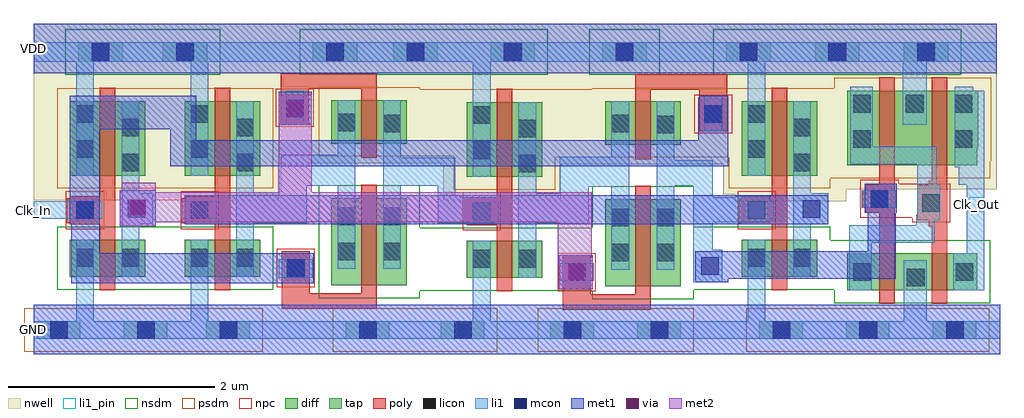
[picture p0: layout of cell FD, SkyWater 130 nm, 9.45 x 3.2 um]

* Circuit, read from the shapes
.subckt FD Clk_In Clk_Out GND VDD
XM1 n1 Clk_In GND GND sky130_fd_pr__nfet_01v8 w=0.36 l=0.15
XM2 n2 n3 GND GND sky130_fd_pr__nfet_01v8 w=0.36 l=0.15
XM3 n4 Clk_In n2 GND sky130_fd_pr__nfet_01v8 w=0.84 l=0.15
XM4 n5 n4 GND GND sky130_fd_pr__nfet_01v8 w=0.36 l=0.15
XM5 n6 n1 n5 GND sky130_fd_pr__nfet_01v8 w=0.84 l=0.15
XM6 n3 n6 GND GND sky130_fd_pr__nfet_01v8 w=0.36 l=0.15
XM7 GND n6 n7 GND sky130_fd_pr__nfet_01v8 w=0.36 l=0.15
XM8 Clk_Out n7 GND GND sky130_fd_pr__nfet_01v8 w=0.36 l=0.15
XM9 n1 Clk_In VDD VDD sky130_fd_pr__pfet_01v8 w=0.72 l=0.15
XM10 n2 n3 VDD VDD sky130_fd_pr__pfet_01v8 w=0.72 l=0.15
XM11 n4 n1 n2 VDD sky130_fd_pr__pfet_01v8 w=0.42 l=0.15
XM12 n5 n4 VDD VDD sky130_fd_pr__pfet_01v8 w=0.72 l=0.15
XM13 n6 Clk_In n5 VDD sky130_fd_pr__pfet_01v8 w=0.42 l=0.15
XM14 n3 n6 VDD VDD sky130_fd_pr__pfet_01v8 w=0.72 l=0.15
XM15 VDD n6 n7 VDD sky130_fd_pr__pfet_01v8 w=0.72 l=0.15
XM16 Clk_Out n7 VDD VDD sky130_fd_pr__pfet_01v8 w=0.72 l=0.15
.ends

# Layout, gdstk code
import gdstk
lib = gdstk.Library(unit=1e-6, precision=1e-09)
def R(c, l, rs):  # rectangles x0, y0, x1, y1
    for r in rs: c.add(gdstk.rectangle(r[:2], r[2:], *l))
def A(c, l, x, y, w, h, nx, ny, dx, dy):  # array of equal rectangles
    R(c, l, [(x+i*dx, y+j*dy, x+i*dx+w, y+j*dy+h) for i in range(nx) for j in range(ny)])
nwell = (64, 20)
diff = (65, 20)
tap = (65, 44)
poly = (66, 20)
licon = (66, 44)
li1_pin = (67, 16)
li1 = (67, 20)
mcon = (67, 44)
met1 = (68, 20)
via = (68, 44)
met2 = (69, 20)
nsdm = (93, 44)
psdm = (94, 20)
npc = (95, 20)

c_fd = lib.new_cell('FD')
R(c_fd, nwell, [(6.79,1.48,7.86,1.55), (0,1.49,2.37,1.85), (3.96,1.49,5.1,1.84), (6.67,1.55,7.86,1.6), (6.67,1.6,9.32,1.84), (3.96,1.84,9.32,1.85), (0,1.85,9.32,3.2)])
R(c_fd, diff, [(7.87,0.62,9.13,0.98), (5.53,0.66,6.26,1.5), (2.88,0.67,3.61,1.51), (4.19,0.74,4.92,1.1), (0.35,0.75,1.08,1.11), (1.46,0.75,2.19,1.11), (6.85,0.75,7.58,1.11), (4.19,1.72,4.92,2.44), (0.35,1.73,1.08,2.45), (1.46,1.73,2.19,2.45), (6.85,1.73,7.58,2.45), (7.87,1.83,9.13,2), (7.87,2,9.14,2.55), (5.53,2.03,6.26,2.45), (2.88,2.04,3.61,2.46)])
A(c_fd, tap, 7.02, 0.15, 0.42, 0.17, 3, 1, 0.84, 0)
A(c_fd, tap, 6.7, 2.83, 0.43, 0.19, 3, 1, 0.86, 0)
R(c_fd, tap, [(0.03,0.15,0.45,0.32), (0.87,0.15,1.29,0.32), (1.67,0.15,2.09,0.32), (3.02,0.15,3.44,0.32), (3.94,0.15,4.36,0.32), (5,0.15,5.42,0.32), (5.84,0.15,6.26,0.32), (0.43,2.83,0.86,3.02), (1.25,2.83,1.68,3.02), (2.7,2.83,3.13,3.02), (3.48,2.83,3.91,3.02), (4.42,2.83,4.85,3.02), (5.5,2.83,5.93,3.02)])
R(c_fd, poly, [(5.12,0.43,5.97,0.58), (2.4,0.44,3.32,0.59), (8.18,0.49,8.33,1.37), (8.69,0.49,8.84,1.24), (5.12,0.58,5.39,0.96), (5.82,0.58,5.97,1.63), (2.4,0.59,2.67,1), (3.17,0.59,3.32,1.64), (4.48,0.61,4.63,1.25), (0.64,0.62,0.79,1.26), (1.75,0.62,1.9,1.26), (7.14,0.62,7.29,1.26), (8.66,1.24,8.84,1.3), (4.19,1.25,4.63,1.26), (0.35,1.26,0.79,1.27), (1.46,1.26,1.9,1.27), (4.16,1.26,4.63,1.5), (6.85,1.26,7.29,1.27), (0.32,1.27,0.79,1.51), (1.43,1.27,1.9,1.51), (6.82,1.27,7.29,1.51), (8.55,1.3,8.84,1.64), (8.05,1.37,8.33,1.42), (8.02,1.42,8.34,1.59), (4.19,1.5,4.63,1.52), (0.35,1.51,0.79,1.53), (1.46,1.51,1.9,1.53), (6.85,1.51,7.29,1.53), (4.48,1.52,4.63,2.57), (0.64,1.53,0.79,2.58), (1.75,1.53,1.9,2.58), (7.14,1.53,7.29,2.58), (8.05,1.59,8.33,1.64), (8.18,1.64,8.33,2.68), (8.66,1.64,8.84,1.68), (8.69,1.68,8.84,2.68), (5.82,1.89,5.97,2.56), (3.17,1.9,3.32,2.57), (6.44,2.16,6.71,2.56), (2.39,2.22,2.66,2.57), (5.82,2.56,6.71,2.71), (2.39,2.57,3.32,2.72)])
A(c_fd, licon, 7.15, 0.15, 0.17, 0.17, 3, 1, 0.84, 0)
A(c_fd, licon, 6.83, 2.84, 0.17, 0.17, 3, 1, 0.86, 0)
R(c_fd, licon, [(0.16,0.15,0.33,0.32), (1,0.15,1.17,0.32), (1.8,0.15,1.97,0.32), (3.15,0.15,3.32,0.32), (4.07,0.15,4.24,0.32), (5.13,0.15,5.3,0.32), (5.97,0.15,6.14,0.32), (8.45,0.66,8.62,0.83), (5.17,0.71,5.34,0.88), (7.93,0.71,8.1,0.88), (8.92,0.71,9.09,0.88), (2.45,0.75,2.62,0.92), (4.25,0.84,4.42,1.01), (4.69,0.84,4.86,1.01), (0.41,0.85,0.58,1.02), (0.85,0.85,1.02,1.02), (1.52,0.85,1.69,1.02), (1.96,0.85,2.13,1.02), (6.91,0.85,7.08,1.02), (7.35,0.85,7.52,1.02), (5.59,0.9,5.76,1.07), (6.03,0.9,6.2,1.07), (2.94,0.91,3.11,1.08), (3.38,0.91,3.55,1.08), (5.59,1.24,5.76,1.41), (6.03,1.24,6.2,1.41), (2.94,1.25,3.11,1.42), (3.38,1.25,3.55,1.42), (4.25,1.3,4.42,1.47), (0.41,1.31,0.58,1.48), (1.52,1.31,1.69,1.48), (6.91,1.31,7.08,1.48), (8.6,1.38,8.77,1.55), (8.1,1.42,8.27,1.59), (4.69,1.76,4.86,1.93), (0.85,1.77,1.02,1.94), (1.96,1.77,2.13,1.94), (7.35,1.77,7.52,1.94), (4.25,1.89,4.42,2.06), (0.41,1.9,0.58,2.07), (1.52,1.9,1.69,2.07), (6.91,1.9,7.08,2.07), (7.93,2,8.1,2.17), (8.91,2,9.08,2.17), (4.69,2.1,4.86,2.27), (0.85,2.11,1.02,2.28), (1.96,2.11,2.13,2.28), (7.35,2.11,7.52,2.28), (6.03,2.14,6.2,2.31), (3.38,2.15,3.55,2.32), (5.59,2.15,5.76,2.32), (2.94,2.16,3.11,2.33), (4.25,2.23,4.42,2.4), (0.41,2.24,0.58,2.41), (1.52,2.24,1.69,2.41), (6.49,2.24,6.66,2.41), (6.91,2.24,7.08,2.41), (2.44,2.3,2.61,2.47), (7.93,2.34,8.1,2.51), (8.44,2.34,8.61,2.51), (8.91,2.34,9.08,2.51), (0.56,2.84,0.73,3.01), (1.38,2.84,1.55,3.01), (2.83,2.84,3,3.01), (3.61,2.84,3.78,3.01), (4.55,2.84,4.72,3.01), (5.63,2.84,5.8,3.01)])
R(c_fd, li1_pin, [(9.05,1.38,9.19,1.52)])
R(c_fd, li1, [(0,0.15,9.35,0.32), (0.41,0.32,0.58,1.11), (1.52,0.32,1.69,1.11), (4.25,0.32,4.42,1.1), (6.91,0.32,7.08,1.11), (8.42,0.32,8.64,0.91), (7.89,0.62,8.11,1.08), (8.9,0.62,9.2,0.98), (6.38,0.7,6.66,1.01), (5.09,0.71,5.42,0.88), (2.37,0.74,2.7,0.92), (4.69,0.74,4.86,1.27), (0.85,0.75,1.02,1.26), (1.96,0.75,2.13,1.27), (7.35,0.75,7.52,1.26), (5.59,0.82,5.76,1.62), (6.03,0.82,6.2,1.63), (2.94,0.83,3.11,1.63), (3.38,0.83,3.55,1.63), (9.03,0.98,9.2,1.64), (6.38,1.01,6.57,1.28), (7.89,1.08,8.72,1.25), (8.54,1.25,8.72,1.3), (0.85,1.26,1.15,1.56), (7.35,1.26,7.69,1.56), (1.96,1.27,2.64,1.57), (3.91,1.27,4.46,1.3), (4.69,1.27,5.37,1.56), (6.38,1.28,7.12,1.31), (3.91,1.3,4.5,1.47), (8.54,1.3,8.77,1.35), (0,1.31,0.66,1.48), (1.43,1.31,1.77,1.48), (6.38,1.31,7.16,1.48), (8.55,1.35,8.77,1.64), (8.01,1.42,8.35,1.59), (3.91,1.47,4.46,1.52), (6.38,1.48,7.12,1.52), (3.91,1.52,4.12,1.54), (6.38,1.52,6.57,1.63), (6.79,1.52,7.12,1.53), (3.91,1.54,4.08,1.63), (0.85,1.56,1.02,2.45), (4.69,1.56,4.86,2.44), (5.09,1.56,5.37,1.62), (7.35,1.56,7.52,2.45), (1.96,1.57,2.13,2.45), (2.39,1.57,2.64,1.63), (5.09,1.62,5.76,1.91), (2.39,1.63,3.11,1.93), (3.38,1.63,4.08,1.9), (6.03,1.63,6.57,1.88), (8.55,1.64,8.74,1.84), (8.95,1.64,9.2,1.81), (4.25,1.72,4.42,2.83), (0.41,1.73,0.58,2.83), (1.52,1.73,1.69,2.83), (6.91,1.73,7.08,2.83), (8.91,1.81,9.2,2.55), (7.9,1.84,8.74,2.01), (6.03,1.88,6.2,2.45), (3.38,1.9,3.55,2.46), (5.59,1.91,5.76,2.45), (2.94,1.93,3.11,2.46), (7.9,2.01,8.12,2.59), (6.49,2.16,6.66,2.5), (2.44,2.22,2.61,2.55), (8.41,2.22,8.64,2.83), (8.91,2.55,9.09,2.59), (0,2.83,9.32,3.02)])
A(c_fd, mcon, 7.15, 0.15, 0.17, 0.17, 3, 1, 0.84, 0)
A(c_fd, mcon, 6.83, 2.84, 0.17, 0.17, 3, 1, 0.86, 0)
R(c_fd, mcon, [(0.16,0.15,0.33,0.32), (1,0.15,1.17,0.32), (1.8,0.15,1.97,0.32), (3.15,0.15,3.32,0.32), (4.07,0.15,4.24,0.32), (5.13,0.15,5.3,0.32), (5.97,0.15,6.14,0.32), (5.17,0.71,5.34,0.88), (2.45,0.75,2.62,0.92), (6.46,0.77,6.63,0.94), (0.41,1.31,0.58,1.48), (1.52,1.31,1.69,1.48), (0.91,1.32,1.08,1.49), (7.44,1.32,7.61,1.49), (8.1,1.42,8.27,1.59), (6.49,2.24,6.66,2.41), (2.44,2.295,2.61,2.465), (0.56,2.84,0.73,3.01), (1.38,2.84,1.55,3.01), (2.83,2.84,3,3.01), (3.61,2.84,3.78,3.01), (4.55,2.84,4.72,3.01), (5.63,2.84,5.8,3.01)])
R(c_fd, met1, [(0,0,9.35,0.48), (5.08,0.63,5.41,0.96), (0.36,0.69,2.71,0.98), (6.41,0.7,6.72,0.71), (6.4,0.71,6.72,0.73), (6.4,0.73,8.34,1), (0.36,0.98,0.64,1.27), (8.07,1,8.34,1.37), (0.83,1.24,1.18,1.59), (1.46,1.26,7.69,1.54), (0.35,1.27,0.64,2.18), (8.04,1.37,8.35,1.65), (1.32,1.82,6.72,2.07), (1.32,2.07,1.57,2.18), (6.43,2.07,6.72,2.49), (0.35,2.18,1.57,2.5), (2.37,2.22,2.69,2.54), (6.44,2.49,6.72,2.5), (0,2.72,9.32,3.2)])
R(c_fd, via, [(5.17,0.72,5.32,0.87), (0.935,1.345,1.085,1.495), (2.455,2.305,2.605,2.455)])
R(c_fd, met2, [(5.08,0.63,5.41,0.87), (5.07,0.87,5.41,0.93), (5.07,0.93,5.4,1.28), (0.83,1.24,1.18,1.28), (0.83,1.28,5.4,1.57), (0.83,1.57,1.18,1.59), (2.37,1.57,2.69,2.51), (0.85,1.59,1.18,1.66)])
R(c_fd, nsdm, [(7.745,0.495,9.255,0.625), (5.405,0.535,6.385,0.615), (2.755,0.545,3.735,0.615), (2.755,0.615,6.385,0.625), (0.225,0.625,2.315,1.235), (2.755,0.625,9.255,1.105), (2.755,1.105,7.705,1.225), (2.755,1.225,3.735,1.635), (5.405,1.225,7.705,1.235), (5.405,1.235,6.385,1.625), (0.305,2.705,1.805,3.145), (2.575,2.705,4.975,3.145), (5.375,2.705,6.055,3.145), (6.575,2.705,8.975,3.145)])
R(c_fd, psdm, [(-0.095,0.025,2.215,0.445), (2.895,0.025,4.485,0.445), (4.875,0.025,6.385,0.445), (6.895,0.025,9.245,0.445), (4.065,1.595,5.045,1.905), (0.225,1.605,2.315,2.575), (6.725,1.605,7.705,1.705), (6.725,1.705,9.255,1.875), (6.725,1.875,9.265,1.905), (4.065,1.905,9.265,1.915), (2.755,1.915,9.265,2.565), (2.755,2.565,3.735,2.585), (5.405,2.565,9.265,2.575), (7.745,2.575,9.265,2.675)])
R(c_fd, npc, [(5.07,0.61,5.44,0.98), (2.35,0.65,2.72,1.02), (4.15,1.2,4.52,1.57), (0.31,1.21,0.68,1.58), (1.42,1.21,1.79,1.58), (6.81,1.21,7.18,1.58), (8.5,1.28,8.87,1.32), (8,1.32,8.87,1.65), (8,1.65,8.37,1.69), (6.39,2.14,6.76,2.51), (2.34,2.2,2.71,2.57)])
c_fd.add(gdstk.Label('Clk_Out', (9.12,1.45), layer=67, texttype=16))
c_fd.add(gdstk.Label('GND', (0,0.24), layer=68, texttype=16))
c_fd.add(gdstk.Label('Clk_In', (0,1.395), layer=67, texttype=16))
c_fd.add(gdstk.Label('VDD', (0,2.96), layer=68, texttype=16))

lib.write_gds('FD.gds')
